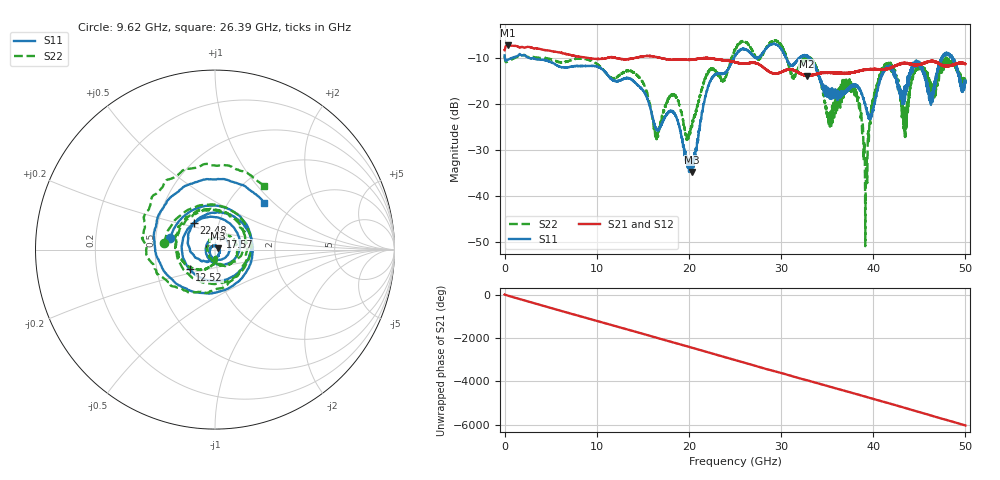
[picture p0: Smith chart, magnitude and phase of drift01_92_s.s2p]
!Created with skrf (http://scikit-rf.org).
# Hz S RI R 50.0
!freq ReS11 ImS11 ReS21 ImS21 ReS12 ImS12 ReS22 ImS22
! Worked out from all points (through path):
!   10001 points, 300 kHz to 50 GHz, reference 50 ohm
!   highest |S21| = -7.33 dB at 325.3 MHz (marker M1); lowest = -14.0 dB at 32.77 GHz (marker M2)
!   group delay of S21, straight-line fit = 335 ps
!   lowest |S11| = -34.8 dB at 20.34 GHz (marker M3), VSWR 1.04, Z = 51.6 + j0.989 ohm
!   |S11| at or under -10 dB: 2.554 GHz to 24.91 GHz (22.36 GHz wide, 163 % of centre); 30.52 GHz to 32.01 GHz (1.498 GHz wide, 4.79 % of centre); 33.06 GHz to 47.43 GHz (14.37 GHz wide, 35.7 % of centre) (the widest 3 of 16)
!   |S22| runs from -51.0 to -6.3 dB; largest |S21 - S12| = 0.0097
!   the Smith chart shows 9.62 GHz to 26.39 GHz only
!   S11 on the Smith chart (normalised r, x): 9.62 GHz: 0.60, +0.08; 12.52 GHz: 0.74, -0.17; 17.57 GHz: 1.05, +0.15; 22.48 GHz: 0.76, +0.24; 26.39 GHz: 1.45, +0.87
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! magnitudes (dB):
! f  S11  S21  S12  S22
! 300 kHz  -9.5  -8.4  -8.5  -9.5
! 325.3 MHz  -10.5  -7.3  -7.3  -10.9
! 8.335 GHz  -11.8  -9.9  -9.9  -10.2
! 9.62 GHz  -11.8  -10.2  -10.2  -10.8
! 12.52 GHz  -15.0  -10.2  -10.2  -13.7
! 16.67 GHz  -25.8  -10.0  -9.9  -27.1
! 17.57 GHz  -22.3  -10.4  -10.3  -19.6
! 20.34 GHz  -34.8  -10.4  -10.4  -24.7
! 22.48 GHz  -14.5  -10.2  -10.2  -12.6
! 25 GHz  -9.6  -11.0  -11.0  -8.3
! 26.39 GHz  -8.5  -11.2  -11.2  -7.0
! 32.77 GHz  -9.8  -14.0  -13.9  -10.2
! 33.34 GHz  -10.7  -13.8  -13.8  -10.6
! 35.23 GHz  -17.3  -13.2  -13.2  -22.5
! 37.98 GHz  -16.0  -13.1  -13.1  -17.0
! 39.17 GHz  -20.6  -12.6  -12.7  -41.8
! 40.14 GHz  -20.0  -12.5  -12.5  -17.9
! 41.67 GHz  -12.1  -12.3  -12.3  -11.6
! 43.42 GHz  -17.3  -11.2  -11.3  -23.7
! 44.88 GHz  -10.9  -11.6  -11.5  -11.6
! 46.23 GHz  -19.1  -10.8  -10.8  -15.5
! 50 GHz  -15.4  -11.4  -11.4  -15.0
